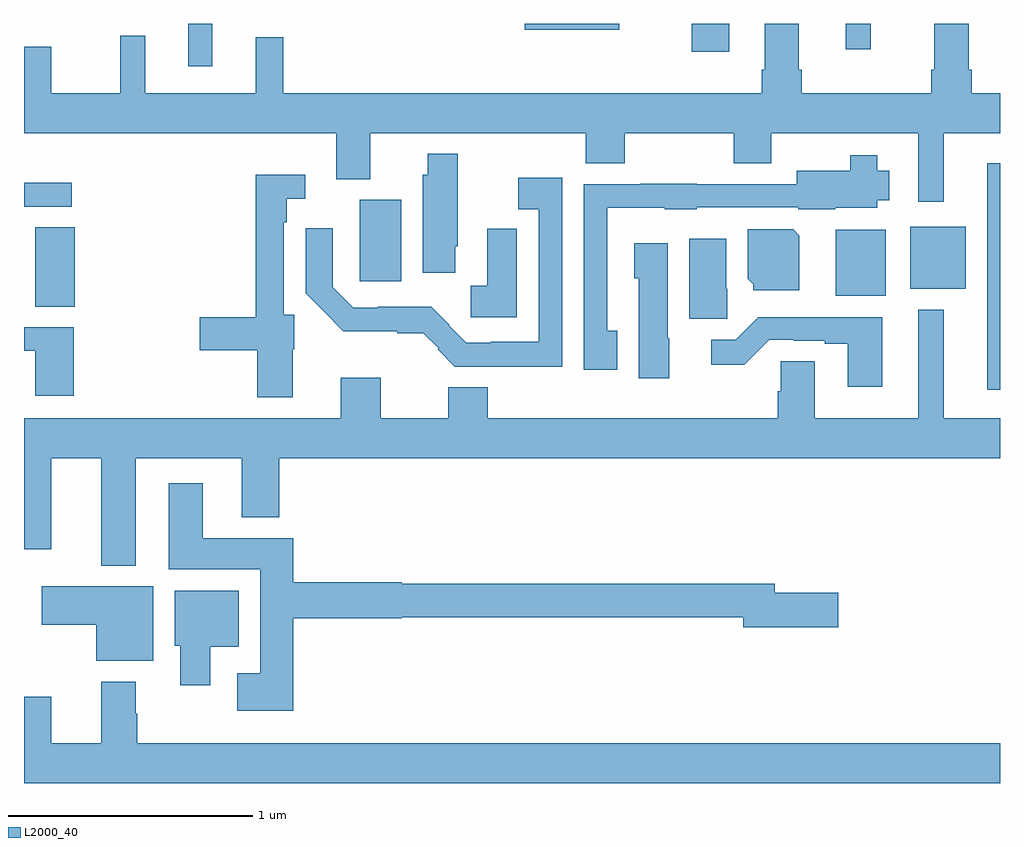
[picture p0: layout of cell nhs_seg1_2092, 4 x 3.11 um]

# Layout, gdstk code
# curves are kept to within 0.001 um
import gdstk
lib = gdstk.Library(unit=1e-6, precision=1e-09)
def R(c, l, rs):  # rectangles x0, y0, x1, y1
    for r in rs: c.add(gdstk.rectangle(r[:2], r[2:], *l))
def P(c, l, *ps):  # polygons
    for p in ps: c.add(gdstk.Polygon(p, *l))
L2000_40 = (2000, 40)

nhs_seg1_2092 = lib.new_cell('nhs_seg1_2092')
R(nhs_seg1_2092, L2000_40, [(228.947,530.699,229,531.628), (225.047,531.04,225.208,531.365), (228.326,531.086,228.532,531.356), (228.632,531.113,228.859,531.367), (226.376,531.144,226.546,531.478), (225,531.45,225.196,531.548), (225.674,532.026,225.771,532.199), (227.737,532.086,227.89,532.199), (228.368,532.095,228.47,532.199), (227.052,532.175,227.44,532.199)])
P(nhs_seg1_2092, L2000_40, [(228.769,531.752),(229,531.752),(229,531.916),(228.884,531.916),(228.884,532.012),(228.871,532.012),(228.871,532.199),(228.731,532.199),(228.731,532.012),(228.719,532.012),(228.719,531.916),(228.188,531.916),(228.188,532.012),(228.175,532.012),(228.175,532.199),(228.035,532.199),(228.035,532.012),(228.023,532.012),(228.023,531.916),(226.063,531.916),(226.063,532.144),(225.95,532.144),(225.95,531.916),(225.497,531.916),(225.497,532.15),(225.394,532.15),(225.394,531.916),(225.112,531.916),(225.112,532.105),(225,532.105),(225,531.752),(226.28,531.752),(226.28,531.563),(226.42,531.563),(226.42,531.752),(227.303,531.752),(227.303,531.628),(227.463,531.628),(227.463,531.752),(227.908,531.752),(227.908,531.628),(228.063,531.628),(228.063,531.752),(228.665,531.752),(228.665,531.471),(228.769,531.471)],
  [(226.768,531.288),(226.777,531.288),(226.777,531.667),(226.655,531.667),(226.655,531.582),(226.634,531.582),(226.634,531.18),(226.768,531.18)],
  [(227.431,530.942),(227.391,530.942),(227.391,531.446),(227.625,531.446),(227.625,531.44),(227.757,531.44),(227.757,531.447),(228.174,531.447),(228.174,531.44),(228.324,531.44),(228.324,531.446),(228.496,531.446),(228.496,531.476),(228.547,531.476),(228.547,531.598),(228.496,531.598),(228.496,531.661),(228.387,531.661),(228.387,531.598),(228.167,531.598),(228.167,531.543),(227.757,531.543),(227.757,531.545),(227.525,531.545),(227.525,531.543),(227.295,531.543),(227.295,530.781),(227.431,530.781)],
  [(226.102,530.865),(226.107,530.865),(226.107,531.008),(226.065,531.008),(226.065,531.386),(226.077,531.386),(226.077,531.483),(226.153,531.483),(226.153,531.58),(225.949,531.58),(225.949,530.996),(225.72,530.996),(225.72,530.861),(225.956,530.861),(225.956,530.669),(226.102,530.669)],
  [(227.205,531.568),(227.026,531.568),(227.026,531.44),(227.109,531.44),(227.109,530.896),(226.912,530.896),(226.912,530.892),(226.812,530.892),(226.74,530.964),(226.743,530.967),(226.669,531.041),(226.45,531.041),(226.45,531.036),(226.35,531.036),(226.266,531.12),(226.266,531.361),(226.154,531.361),(226.154,531.096),(226.309,530.939),(226.529,530.939),(226.529,530.931),(226.637,530.931),(226.699,530.869),(226.695,530.865),(226.765,530.795),(227.205,530.795)],
  [(227.02,531.359),(226.898,531.359),(226.898,531.127),(226.83,531.127),(226.83,530.998),(227.02,530.998)],
  [(228.178,531.332),(228.152,531.358),(227.966,531.358),(227.966,531.154),(227.988,531.132),(227.988,531.107),(228.178,531.107)],
  [(227.882,531.114),(227.878,531.114),(227.878,531.319),(227.726,531.319),(227.726,530.991),(227.882,530.991)],
  [(227.644,530.91),(227.638,530.91),(227.638,531.301),(227.501,531.301),(227.501,531.156),(227.519,531.156),(227.519,530.748),(227.644,530.748)],
  [(225.457,530.42),(225.893,530.42),(225.893,530.177),(226.046,530.177),(226.046,530.42),(229,530.42),(229,530.584),(228.769,530.584),(228.769,531.028),(228.665,531.028),(228.665,530.584),(228.241,530.584),(228.241,530.816),(228.102,530.816),(228.102,530.694),(228.089,530.694),(228.089,530.584),(226.9,530.584),(226.9,530.71),(226.739,530.71),(226.739,530.584),(226.462,530.584),(226.462,530.749),(226.298,530.749),(226.298,530.584),(225,530.584),(225,530.046),(225.112,530.046),(225.112,530.42),(225.317,530.42),(225.317,529.979),(225.457,529.979)],
  [(228.517,530.998),(228.01,530.998),(227.916,530.904),(227.817,530.904),(227.817,530.802),(227.952,530.802),(228.054,530.904),(228.154,530.904),(228.154,530.901),(228.281,530.901),(228.281,530.889),(228.377,530.889),(228.377,530.712),(228.517,530.712)],
  [(225.203,530.955),(225,530.955),(225,530.859),(225.047,530.859),(225.047,530.676),(225.203,530.676)],
  [(226.103,529.763),(226.548,529.763),(226.548,529.768),(227.948,529.768),(227.948,529.726),(228.337,529.726),(228.337,529.868),(228.076,529.868),(228.076,529.904),(226.548,529.904),(226.548,529.91),(226.103,529.91),(226.103,530.092),(225.733,530.092),(225.733,530.317),(225.593,530.317),(225.593,529.964),(225.968,529.964),(225.968,529.537),(225.873,529.537),(225.873,529.385),(226.103,529.385)],
  [(225.529,529.894),(225.072,529.894),(225.072,529.736),(225.296,529.736),(225.296,529.589),(225.529,529.589)],
  [(225.763,529.646),(225.88,529.646),(225.88,529.876),(225.617,529.876),(225.617,529.65),(225.641,529.65),(225.641,529.488),(225.763,529.488)],
  [(229,529.252),(225.465,529.252),(225.465,529.373),(225.457,529.373),(225.457,529.504),(225.317,529.504),(225.317,529.252),(225.112,529.252),(225.112,529.441),(225,529.441),(225,529.088),(229,529.088)])

lib.write_gds('nhs_seg1_2092.gds')
